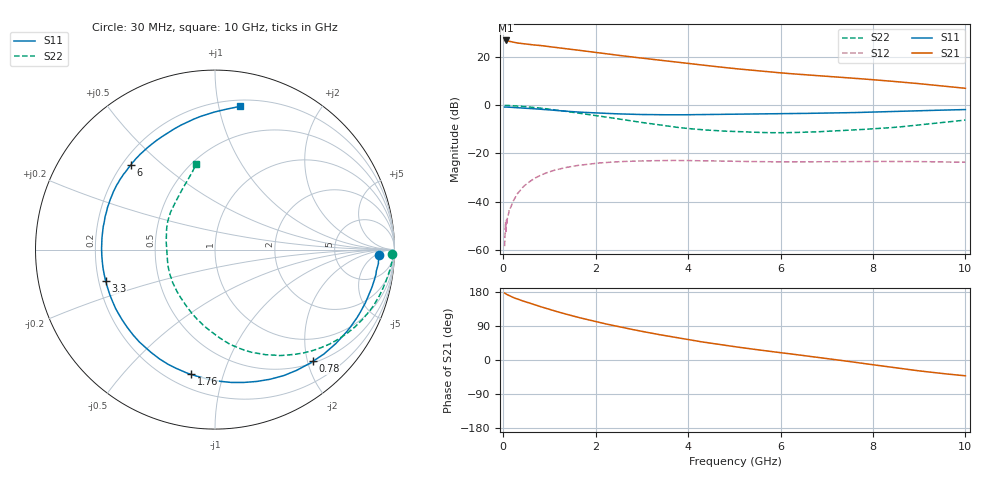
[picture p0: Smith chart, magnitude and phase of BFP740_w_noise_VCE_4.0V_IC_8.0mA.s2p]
! Infineon Technologies  Discrete & RF Semiconductors
! BFP740
! VCE =  4.0 V,  IC =  8.0 mA
! Common Emitter S-Parameters:  Jan 2016
# GHz  S  MA  R  50
!  f  S11  S21  S12  S22
! GHz  MAG  ANG  MAG  ANG  MAG  ANG  MAG  ANG
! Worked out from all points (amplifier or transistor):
!   229 points, 30 MHz to 10 GHz, reference 50 ohm
!   highest |S21| = 26.8 dB at 50 MHz (marker M1)
!   |S21| within 3 dB of that: start of sweep to 1.182 GHz
!   unconditionally stable (mu >= 1): 7.397 GHz to end of sweep
!   at 280 MHz: K = 0.17, MSG = 31.7 dB, |S12| = -37.5 dB
!   at 1.78 GHz: K = 0.29, MSG = 23.5 dB, |S12| = -24.6 dB
!   at 10 GHz: K = 1.09, MAG = 13.5 dB, |S12| = -23.6 dB
!   lowest NFmin = 0.48 dB at 450 MHz
!   S11 on the Smith chart (normalised r, x): 30 MHz: 19, -8; 780 MHz: 0.53, -2.09; 1.76 GHz: 0.28, -0.79; 3.3 GHz: 0.23, -0.13; 6 GHz: 0.23, +0.40; 10 GHz: 0.25, +1.16
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0.03  0.9144 -2.0  21.77 176.6  0.0012 74.9  0.9885 -1.3
0.05  0.9136 -3.4  21.88 175.3  0.0038 74.8  0.9895 -2.3
0.06  0.9128 -4.1  21.67 174.3  0.0024 72.6  0.988 -2.8
0.13  0.9073 -8.9  21 169.6  0.0067 78.1  0.9826 -6.0
0.26  0.8919 -17.2  19.83 162.9  0.0123 77.1  0.965 -11.5
0.46  0.8694 -29.6  18.63 154.5  0.0215 71.8  0.9367 -19.5
0.78  0.8275 -48.8  17.26 141.9  0.0343 60.6  0.8757 -31.6
0.9  0.8121 -55.9  16.8 137.3  0.0384 57.1  0.8487 -36.1
1.2  0.7706 -72.4  15.41 126.4  0.0472 48.1  0.7803 -46.3
1.7  0.7126 -98.2  13.45 110.2  0.0578 36.0  0.6689 -61.4
1.76  0.7077 -100.9  13.2 108.5  0.0588 34.6  0.6574 -63.1
2.14  0.6796 -118.7  11.9 97.4  0.0641 26.8  0.5829 -73.8
2.5  0.6594 -133.6  10.75 88.0  0.0674 20.7  0.5188 -83.1
2.82  0.6454 -146.3  9.883 79.9  0.069 15.7  0.4646 -91.4
3.3  0.6338 -164.0  8.734 68.7  0.0708 9.0  0.3989 -104.7
3.4  0.6327 -167.4  8.508 66.5  0.071 7.8  0.3862 -107.7
4.3  0.6362 165.6  6.783 47.8  0.0704 -1.9  0.31 -134.8
5.1  0.6527 148.6  5.606 33.6  0.0684 -7.6  0.2818 -156.0
6  0.6648 134.9  4.669 19.3  0.0667 -11.3  0.2685 -177.1
6.8  0.6808 123.9  4.078 7.0  0.0671 -14.2  0.2806 164.9
8.4  0.737 99.1  3.131 -19.1  0.0682 -21.7  0.3428 130.4
10  0.8102 80.0  2.234 -41.7  0.0657 -27.4  0.4906 102.2
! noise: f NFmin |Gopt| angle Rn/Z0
0.45  0.48  0.29  9  0.17
0.9  0.49  0.29  15  0.17
1.5  0.51  0.28  23  0.16
1.9  0.54  0.27  41  0.16
2.4  0.56  0.27  46  0.15
3.5  0.67  0.24  62  0.14
5.5  0.86  0.19  -178  0.13
10  1.39  0.52  -77  0.17
